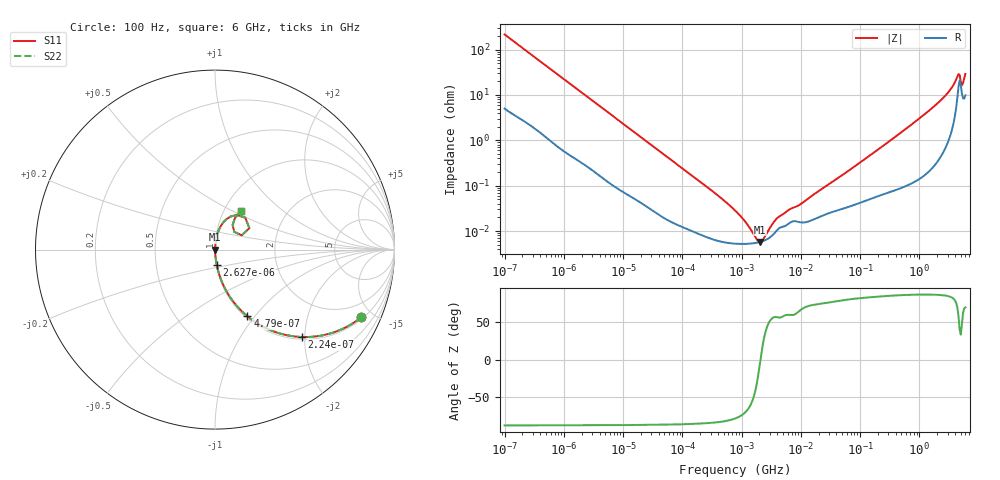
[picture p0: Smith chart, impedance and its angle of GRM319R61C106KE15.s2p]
!Murata Part Number: GRM319R61C106KE15
!These Parameters are Measured in Series Mode Connection
!Data Generated on Mar 30, 2021
!  o--ll--o
!Port1  Port2
!  o------o
!Operation Temp=25[degC], DC Bias Voltage=0[V]
!Freq. Start=100[Hz] Stop=6[GHz] 401[Steps]
# Hz S RI R 50
!Freq.(Hz) S11(Real) S11(Imag) S21(Real) S21(Imag) S12(Real) S12(Imag) S22(Real) S22(Imag)
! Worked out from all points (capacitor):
!   401 points, 100 Hz to 6 GHz, reference 50 ohm
!   read as one part in series: C = 7.38 uF near 109 Hz
!   lowest |Z| = 5.78 mohm at 2.074 MHz (marker M1)
!   series resonance near 2.087 MHz, so ESL is about 790 pH
!   S11 on the Smith chart (normalised r, x): 100 Hz: 1.10, -4.29; 224 Hz: 1.05, -1.94; 479 Hz: 1.02, -0.92; 2.627 kHz: 1.00, -0.17; 6 GHz: 1.20, +0.54
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100  0.816 -0.376  0.184 0.376  0.184 0.376  0.816 -0.376
137  0.7083 -0.4427  0.2917 0.4427  0.2917 0.4427  0.7083 -0.4427
224  0.4854 -0.487  0.5146 0.487  0.5146 0.487  0.4854 -0.487
479  0.181 -0.3721  0.819 0.3721  0.819 0.3721  0.181 -0.3721
897  0.0632 -0.2308  0.9368 0.2308  0.9368 0.2308  0.0632 -0.2308
2008  0.0155 -0.1101  0.9845 0.1101  0.9845 0.1101  0.0155 -0.1101
2627  0.00981 -0.0852  0.9902 0.0852  0.9902 0.0852  0.00981 -0.0852
40335  0.000261 -0.00591  0.9997 0.00591  0.9997 0.00591  0.000261 -0.00591
316350  6.71e-05 -0.000771  0.9999 0.000771  0.9999 0.000771  6.71e-05 -0.000771
774597  5.28e-05 -0.000281  0.9999 0.000281  0.9999 0.000281  5.28e-05 -0.000281
1449809  5.32e-05 -9.05e-05  0.9999 9.05e-05  0.9999 9.05e-05  5.32e-05 -9.05e-05
2074311  5.78e-05 -1.4e-06  0.9999 1.4e-06  0.9999 1.4e-06  5.78e-05 -1.4e-06
2713602  6.64e-05 6.55e-05  0.9999 -6.55e-05  0.9999 -6.55e-05  6.64e-05 6.55e-05
4246196  0.000114 0.000172  0.9999 -0.000172  0.9999 -0.000172  0.000114 0.000172
9941735  0.000155 0.00036  0.9998 -0.00036  0.9998 -0.00036  0.000155 0.00036
1.555665e7  0.000175 0.000579  0.9998 -0.000579  0.9998 -0.000579  0.000175 0.000579
3.124326e8  0.000803 0.00949  0.9992 -0.00949  0.9992 -0.00949  0.000803 0.00949
2.048624e9  0.00772 0.0652  0.9923 -0.0652  0.9923 -0.0652  0.00772 0.0652
3.505958e9  0.0344 0.1348  0.9656 -0.1348  0.9656 -0.1348  0.0344 0.1348
4.385646e9  0.1214 0.1928  0.8786 -0.1928  0.8786 -0.1928  0.1214 0.1928
5.245841e9  0.1077 0.0985  0.8923 -0.0985  0.8923 -0.0985  0.1077 0.0985
6e9  0.1424 0.2127  0.8576 -0.2127  0.8576 -0.2127  0.1424 0.2127
